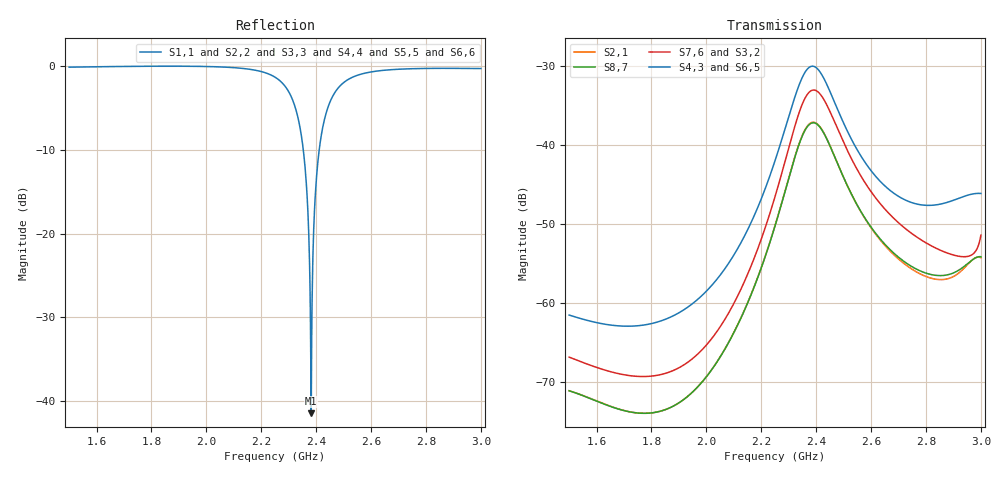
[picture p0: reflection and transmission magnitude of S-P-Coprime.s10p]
! TOUCHSTONE file generated by CST MICROWAVE STUDIO
! Date and time: Tue Jun 18 14:03:05 2024
! Project name: COPRIME.cst
! Parameters = {L=29.68; Sl=59.36; Sw=54.73; W=38.23; fac_la=0.206; h=1.6; l4=16.5; lLT=3; la=13.596; lambda=66; t=0.0175; wa=5.8; wfeed=3.1}
! Header version: 2018
! Port assignment regex: !\s*Touchstone port\s*([0-9]+)\s*=\s*(CST MWS port|CST DS port)\s*([0-9]+|Zmin|Zmax)\s*\(\"(.*)\"\)(\s*mode\s*([0-9]+))?.*
! Touchstone port assignment:
! Touchstone port 1 = CST MWS port 1 ("")
! Touchstone port 2 = CST MWS port 2 ("")
! Touchstone port 3 = CST MWS port 3 ("")
! Touchstone port 4 = CST MWS port 4 ("")
! Touchstone port 5 = CST MWS port 5 ("")
! Touchstone port 6 = CST MWS port 6 ("")
! Touchstone port 7 = CST MWS port 7 ("")
! Touchstone port 8 = CST MWS port 8 ("")
! Touchstone port 9 = CST MWS port 9 ("")
! Touchstone port 10 = CST MWS port 10 ("")
# GHz S MA R 50
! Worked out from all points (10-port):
!   1001 points, 1.5 GHz to 3 GHz, reference 50 ohm
!   strongest paths, dB at 1.5 GHz, 1.875 GHz, 2.25 GHz, 2.625 GHz, 3 GHz:
!     S4,3: -61.5, -61.7, -42.0, -44.3, -46.1
!     S6,5: -61.6, -61.6, -42.0, -44.4, -46.5
!     S7,6: -66.8, -68.6, -46.5, -47.1, -51.4
!     S3,2: -66.9, -68.7, -46.6, -47.1, -51.4
!     S8,7: -71.1, -73.1, -50.3, -51.5, -54.1
!     S2,1: -71.1, -73.1, -50.2, -51.7, -54.3
!   lowest |S11| = -41.4 dB at 2.382 GHz (marker M1), VSWR 1.02, Z = 49.2 + j0.338 ohm
!   |S11| at or under -10 dB: 2.353 GHz to 2.411 GHz (58.25 MHz wide, 2.45 % of centre)
